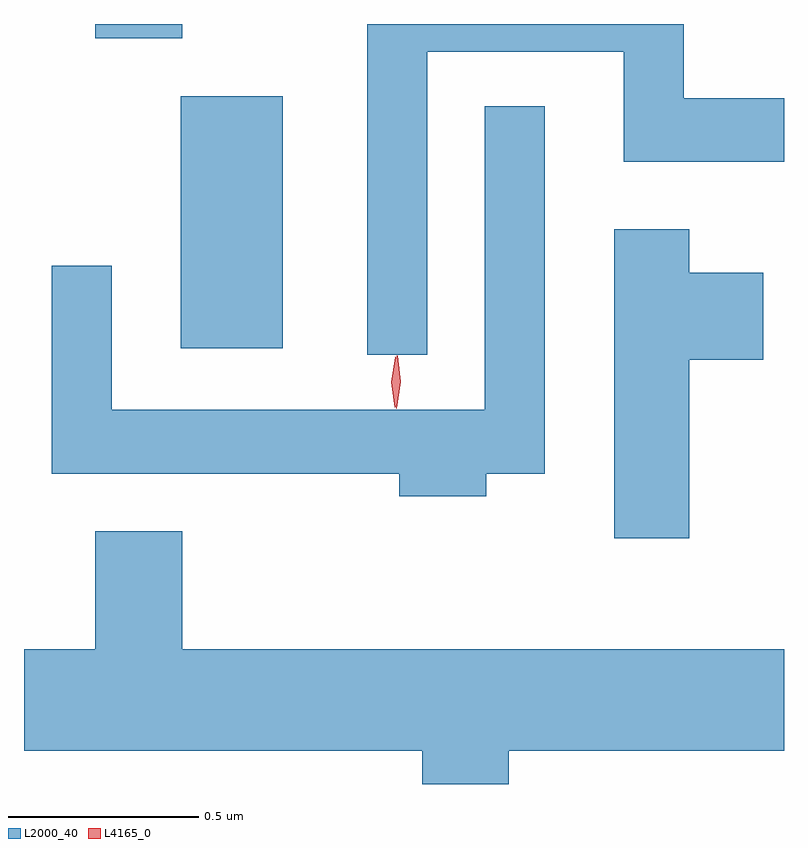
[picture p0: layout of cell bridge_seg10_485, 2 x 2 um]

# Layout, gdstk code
import gdstk
lib = gdstk.Library(unit=1e-6, precision=1e-09)
def R(c, l, rs):  # rectangles x0, y0, x1, y1
    for r in rs: c.add(gdstk.rectangle(r[:2], r[2:], *l))
def P(c, l, *ps):  # polygons
    for p in ps: c.add(gdstk.Polygon(p, *l))
L2000_40 = (2000, 40)
L4165_0 = (4165, 0)

bridge_seg10_485 = lib.new_cell('bridge_seg10_485')
R(bridge_seg10_485, L2000_40, [(1444.036,2139.396,1444.304,2140.059), (1443.811,2140.211,1444.039,2140.249)])
P(bridge_seg10_485, L2000_40, [(1444.684,2140.176),(1445.201,2140.176),(1445.201,2139.886),(1445.623,2139.886),(1445.623,2140.054),(1445.359,2140.054),(1445.359,2140.249),(1444.526,2140.249),(1444.526,2139.378),(1444.684,2139.378)],
  [(1444.839,2139.066),(1444.994,2139.066),(1444.994,2140.033),(1444.836,2140.033),(1444.836,2139.234),(1443.854,2139.234),(1443.854,2139.613),(1443.696,2139.613),(1443.696,2139.066),(1444.611,2139.066),(1444.611,2139.006),(1444.839,2139.006)],
  [(1445.374,2139.366),(1445.569,2139.366),(1445.569,2139.594),(1445.374,2139.594),(1445.374,2139.709),(1445.176,2139.709),(1445.176,2138.896),(1445.374,2138.896)],
  [(1444.899,2138.336),(1445.623,2138.336),(1445.623,2138.604),(1444.039,2138.604),(1444.039,2138.914),(1443.811,2138.914),(1443.811,2138.604),(1443.623,2138.604),(1443.623,2138.336),(1444.671,2138.336),(1444.671,2138.249),(1444.899,2138.249)])
P(bridge_seg10_485, L4165_0, [(1444.599,2139.24),(1444.599,2139.24),(1444.59,2139.306),(1444.6,2139.372),(1444.6,2139.373),(1444.601,2139.372),(1444.61,2139.306),(1444.6,2139.24)],
  [(1444.603,2139.237),(1444.603,2139.238),(1444.594,2139.307),(1444.604,2139.376),(1444.605,2139.376),(1444.606,2139.376),(1444.614,2139.307),(1444.604,2139.238)])

lib.write_gds('bridge_seg10_485.gds')
